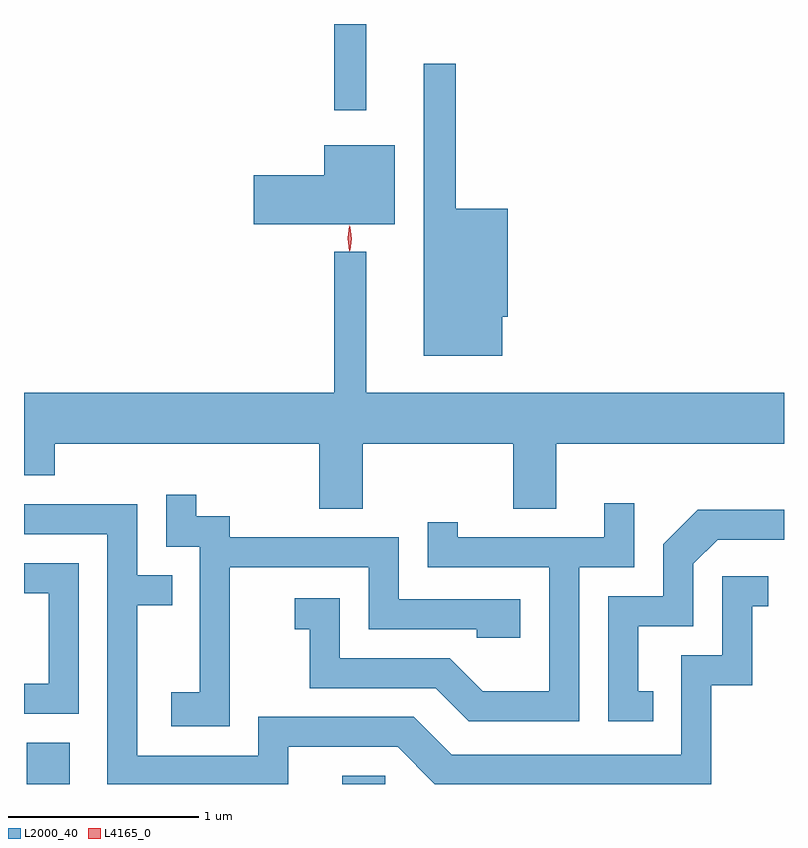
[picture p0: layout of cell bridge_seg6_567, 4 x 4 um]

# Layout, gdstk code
import gdstk
lib = gdstk.Library(unit=1e-6, precision=1e-09)
def R(c, l, rs):  # rectangles x0, y0, x1, y1
    for r in rs: c.add(gdstk.rectangle(r[:2], r[2:], *l))
def P(c, l, *ps):  # polygons
    for p in ps: c.add(gdstk.Polygon(p, *l))
L2000_40 = (2000, 40)
L4165_0 = (4165, 0)

bridge_seg6_567 = lib.new_cell('bridge_seg6_567')
R(bridge_seg6_567, L2000_40, [(464.221,1597.086,464.449,1597.304), (465.881,1597.086,466.109,1597.129), (465.841,1600.633,466.009,1601.086)])
P(bridge_seg6_567, L2000_40, [(466.724,1599.546),(466.754,1599.546),(466.754,1600.114),(466.479,1600.114),(466.479,1600.878),(466.311,1600.878),(466.311,1599.341),(466.724,1599.341)],
  [(466.159,1600.449),(465.786,1600.449),(465.786,1600.289),(465.416,1600.289),(465.416,1600.031),(466.159,1600.031)],
  [(465.989,1598.876),(466.781,1598.876),(466.781,1598.536),(467.009,1598.536),(467.009,1598.876),(468.207,1598.876),(468.207,1599.144),(466.009,1599.144),(466.009,1599.888),(465.841,1599.888),(465.841,1599.144),(464.207,1599.144),(464.207,1598.711),(464.369,1598.711),(464.369,1598.876),(465.761,1598.876),(465.761,1598.536),(465.989,1598.536)],
  [(465.289,1598.226),(466.021,1598.226),(466.021,1597.901),(466.591,1597.901),(466.591,1597.856),(466.819,1597.856),(466.819,1598.059),(466.179,1598.059),(466.179,1598.384),(465.289,1598.384),(465.289,1598.494),(465.114,1598.494),(465.114,1598.608),(464.956,1598.608),(464.956,1598.336),(465.131,1598.336),(465.131,1597.569),(464.981,1597.569),(464.981,1597.391),(465.289,1597.391)],
  [(467.129,1598.226),(467.419,1598.226),(467.419,1598.563),(467.261,1598.563),(467.261,1598.384),(466.489,1598.384),(466.489,1598.463),(466.331,1598.463),(466.331,1598.226),(466.971,1598.226),(466.971,1597.574),(466.622,1597.574),(466.447,1597.749),(465.869,1597.749),(465.869,1598.064),(465.633,1598.064),(465.633,1597.901),(465.711,1597.901),(465.711,1597.591),(466.374,1597.591),(466.549,1597.416),(467.129,1597.416)],
  [(465.599,1597.281),(466.174,1597.281),(466.369,1597.086),(467.824,1597.086),(467.824,1597.606),(468.039,1597.606),(468.039,1598.021),(468.123,1598.021),(468.123,1598.179),(467.881,1598.179),(467.881,1597.764),(467.666,1597.764),(467.666,1597.239),(466.457,1597.239),(466.257,1597.439),(465.441,1597.439),(465.441,1597.234),(464.804,1597.234),(464.804,1598.026),(464.988,1598.026),(464.988,1598.184),(464.804,1598.184),(464.804,1598.559),(464.207,1598.559),(464.207,1598.401),(464.646,1598.401),(464.646,1597.086),(465.599,1597.086)],
  [(467.518,1597.574),(467.439,1597.574),(467.439,1597.916),(467.729,1597.916),(467.729,1598.244),(467.857,1598.371),(468.207,1598.371),(468.207,1598.529),(467.754,1598.529),(467.571,1598.347),(467.571,1598.074),(467.281,1598.074),(467.281,1597.416),(467.518,1597.416)],
  [(464.494,1598.249),(464.207,1598.249),(464.207,1598.091),(464.336,1598.091),(464.336,1597.614),(464.207,1597.614),(464.207,1597.456),(464.494,1597.456)])
P(bridge_seg6_567, L4165_0, [(465.919,1599.89),(465.91,1599.958),(465.918,1600.025),(465.919,1600.026),(465.92,1600.025),(465.929,1599.958),(465.92,1599.89),(465.92,1599.89)],
  [(465.922,1599.893),(465.922,1599.894),(465.912,1599.956),(465.922,1600.02),(465.922,1600.02),(465.923,1600.02),(465.932,1599.956),(465.923,1599.894)])

lib.write_gds('bridge_seg6_567.gds')
